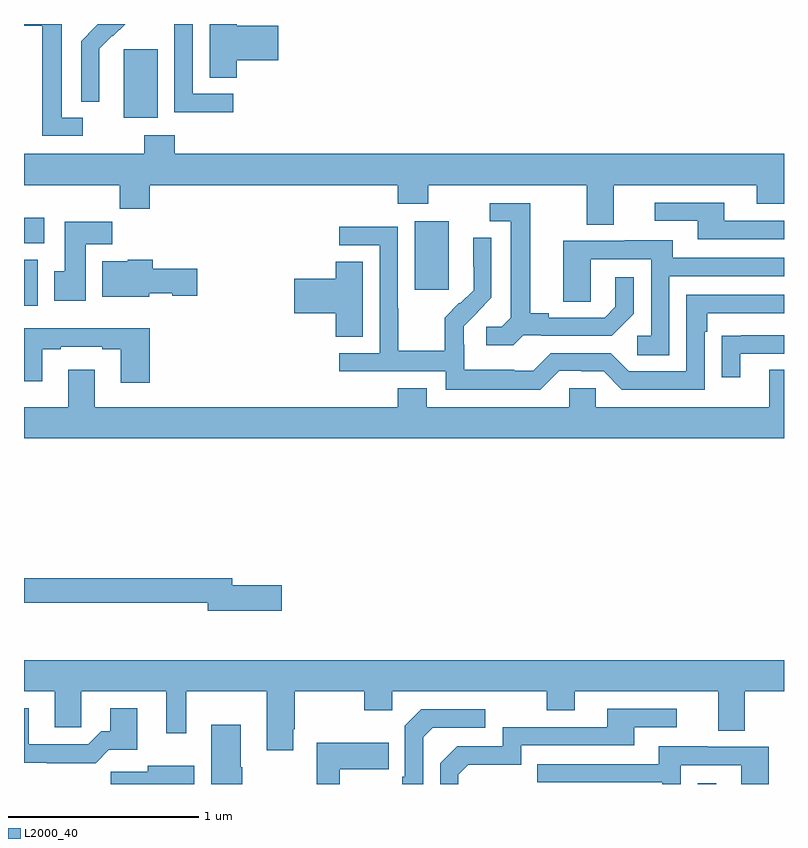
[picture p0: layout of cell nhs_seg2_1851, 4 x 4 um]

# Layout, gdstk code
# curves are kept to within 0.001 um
import gdstk
lib = gdstk.Library(unit=1e-6, precision=1e-09)
def R(c, l, rs):  # rectangles x0, y0, x1, y1
    for r in rs: c.add(gdstk.rectangle(r[:2], r[2:], *l))
def P(c, l, *ps):  # polygons
    for p in ps: c.add(gdstk.Polygon(p, *l))
L2000_40 = (2000, 40)

nhs_seg2_1851 = lib.new_cell('nhs_seg2_1851')
R(nhs_seg2_1851, L2000_40, [(210.546,661.8,210.643,661.804), (207,664.316,207.073,664.558), (209.057,664.401,209.236,664.762), (207,664.646,207.106,664.78), (207.524,665.306,207.703,665.667)])
P(nhs_seg2_1851, L2000_40, [(207.31,665.307),(207.199,665.307),(207.199,665.8),(207,665.8),(207,665.792),(207.095,665.792),(207.095,665.211),(207.31,665.211)],
  [(207.396,665.546),(207.395,665.546),(207.395,665.669),(207.465,665.739),(207.468,665.736),(207.532,665.8),(207.388,665.8),(207.372,665.784),(207.373,665.783),(207.3,665.71),(207.3,665.392),(207.396,665.392)],
  [(208.102,665.433),(207.888,665.433),(207.888,665.8),(207.79,665.8),(207.79,665.764),(207.792,665.764),(207.792,665.335),(208.102,665.335)],
  [(208.121,665.609),(208.339,665.609),(208.339,665.792),(208.121,665.792),(208.121,665.8),(207.977,665.8),(207.977,665.518),(208.121,665.518)],
  [(210.103,664.952),(210.857,664.952),(210.857,664.853),(211,664.853),(211,665.116),(207.794,665.116),(207.794,665.215),(207.634,665.215),(207.634,665.116),(207,665.116),(207,664.952),(207.505,664.952),(207.505,664.828),(207.662,664.828),(207.662,664.952),(208.967,664.952),(208.967,664.853),(209.127,664.853),(209.127,664.952),(209.963,664.952),(209.963,664.744),(210.103,664.744)],
  [(211,664.764),(210.685,664.764),(210.685,664.86),(210.321,664.86),(210.321,664.764),(210.545,664.764),(210.545,664.668),(211,664.668)],
  [(209.628,664.161),(209.722,664.161),(209.722,664.158),(210.094,664.158),(210.21,664.274),(210.21,664.468),(210.113,664.468),(210.113,664.311),(210.056,664.254),(209.761,664.254),(209.761,664.277),(209.665,664.277),(209.665,664.857),(209.451,664.857),(209.451,664.761),(209.561,664.761),(209.561,664.253),(209.514,664.206),(209.433,664.206),(209.433,664.109),(209.576,664.109)],
  [(207.325,664.64),(207.464,664.64),(207.464,664.759),(207.215,664.759),(207.215,664.5),(207.158,664.5),(207.158,664.344),(207.325,664.344)],
  [(209.817,663.975),(209.933,663.975),(209.933,663.972),(210.051,663.972),(210.147,663.876),(210.582,663.876),(210.582,664.181),(210.595,664.181),(210.595,664.278),(211,664.278),(211,664.374),(210.486,664.374),(210.486,663.972),(210.183,663.972),(210.087,664.068),(209.772,664.068),(209.679,663.975),(209.579,663.975),(209.579,663.979),(209.316,663.979),(209.316,664.113),(209.314,664.113),(209.314,664.21),(209.46,664.358),(209.46,664.676),(209.364,664.676),(209.364,664.522),(209.366,664.522),(209.366,664.4),(209.295,664.329),(209.292,664.332),(209.215,664.255),(209.215,664.081),(208.971,664.081),(208.971,664.304),(208.968,664.304),(208.968,664.734),(208.659,664.734),(208.659,664.635),(208.872,664.635),(208.872,664.068),(208.659,664.068),(208.659,663.972),(209.22,663.972),(209.22,663.875),(209.717,663.875)],
  [(210.396,664.473),(211,664.473),(211,664.569),(210.415,664.569),(210.415,664.663),(210.161,664.663),(210.161,664.659),(209.837,664.659),(209.837,664.339),(209.982,664.339),(209.982,664.563),(210.3,664.563),(210.3,664.158),(210.228,664.158),(210.228,664.057),(210.396,664.057)],
  [(207.66,664.382),(207.78,664.382),(207.78,664.37),(207.913,664.37),(207.913,664.512),(207.677,664.512),(207.677,664.558),(207.546,664.558),(207.546,664.552),(207.413,664.552),(207.413,664.364),(207.66,664.364)],
  [(208.783,664.55),(208.64,664.55),(208.64,664.46),(208.422,664.46),(208.422,664.277),(208.64,664.277),(208.64,664.153),(208.783,664.153)],
  [(207.662,664.198),(207,664.198),(207,663.92),(207.097,663.92),(207.097,664.089),(207.193,664.089),(207.193,664.101),(207.413,664.101),(207.413,664.089),(207.509,664.089),(207.509,663.912),(207.662,663.912)],
  [(210.769,664.065),(211,664.065),(211,664.161),(210.775,664.161),(210.775,664.16),(210.673,664.16),(210.673,663.942),(210.769,663.942)],
  [(211,663.979),(210.923,663.979),(210.923,663.784),(210.009,663.784),(210.009,663.882),(209.871,663.882),(209.871,663.784),(209.119,663.784),(209.119,663.883),(208.967,663.883),(208.967,663.784),(207.373,663.784),(207.373,663.979),(207.233,663.979),(207.233,663.784),(207,663.784),(207,663.62),(211,663.62)],
  [(208.357,662.846),(208.096,662.846),(208.096,662.882),(207,662.882),(207,662.754),(207.968,662.754),(207.968,662.711),(208.357,662.711)],
  [(207,662.288),(207.161,662.288),(207.161,662.098),(207.3,662.098),(207.3,662.288),(207.749,662.288),(207.749,662.067),(207.853,662.067),(207.853,662.288),(208.277,662.288),(208.277,661.977),(208.417,661.977),(208.417,662.089),(208.425,662.089),(208.425,662.288),(208.792,662.288),(208.792,662.189),(208.938,662.189),(208.938,662.288),(209.752,662.288),(209.752,662.189),(209.899,662.189),(209.899,662.288),(210.653,662.288),(210.653,662.08),(210.793,662.08),(210.793,662.288),(211,662.288),(211,662.452),(207,662.452)],
  [(207.446,661.979),(207.595,661.979),(207.595,662.2),(207.455,662.2),(207.455,662.077),(207.406,662.077),(207.339,662.01),(207.025,662.01),(207.025,662.2),(207,662.2),(207,661.912),(207.121,661.912),(207.121,661.91),(207.377,661.91)],
  [(209.286,661.848),(209.339,661.901),(209.616,661.901),(209.616,662.004),(210.211,662.004),(210.211,662.1),(210.436,662.1),(210.436,662.196),(210.071,662.196),(210.071,662.1),(209.52,662.1),(209.52,661.998),(209.28,661.998),(209.19,661.908),(209.19,661.8),(209.286,661.8)],
  [(209.1,662.046),(209.151,662.097),(209.428,662.097),(209.428,662.193),(209.091,662.193),(209.004,662.106),(209.004,661.837),(208.992,661.837),(208.992,661.8),(209.1,661.8)],
  [(208.149,661.889),(208.141,661.889),(208.141,662.113),(207.986,662.113),(207.986,661.8),(208.149,661.8)],
  [(208.663,661.877),(208.919,661.877),(208.919,662.017),(208.542,662.017),(208.542,661.8),(208.663,661.8)],
  [(210.456,661.899),(210.774,661.899),(210.774,661.8),(210.919,661.8),(210.919,661.995),(210.595,661.995),(210.595,661.999),(210.341,661.999),(210.341,661.905),(209.701,661.905),(209.701,661.809),(210.36,661.809),(210.36,661.8),(210.456,661.8)],
  [(207.895,661.897),(207.65,661.897),(207.65,661.865),(207.456,661.865),(207.456,661.8),(207.895,661.8)])

lib.write_gds('nhs_seg2_1851.gds')
